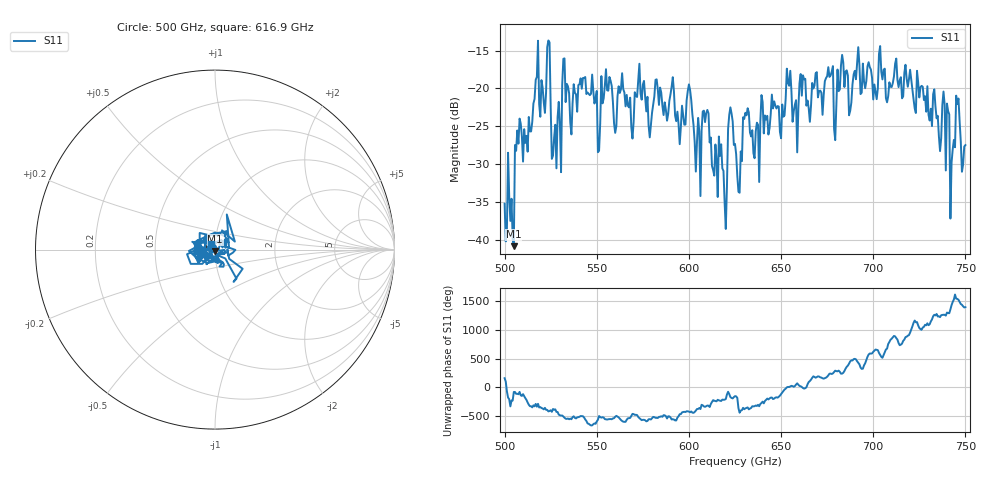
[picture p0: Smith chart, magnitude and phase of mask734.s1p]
!Created with skrf (http://scikit-rf.org).
# GHz S MA R 50.0
!freq magS11 angS11
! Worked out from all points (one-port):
!   401 points, 500 GHz to 750 GHz, reference 50 ohm
!   lowest |S11| = -40.8 dB at 505 GHz (marker M1), VSWR 1.02, Z = 50.1 - j0.904 ohm
!   |S11| at or under -10 dB: start of sweep to end of sweep
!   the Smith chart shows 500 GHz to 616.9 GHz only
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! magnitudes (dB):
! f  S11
! 500 GHz  -35.2
! 505 GHz  -40.8
! 506.9 GHz  -25.5
! 513.8 GHz  -25.7
! 516.9 GHz  -18.9
! 523.8 GHz  -13.7
! 526.9 GHz  -26.5
! 531.2 GHz  -19.5
! 542.5 GHz  -18.6
! 550.6 GHz  -28.4
! 562.5 GHz  -20.6
! 593.8 GHz  -23.1
! 600 GHz  -19.5
! 605 GHz  -23.9
! 609.4 GHz  -23.3
! 619.4 GHz  -35.1
! 622.5 GHz  -22.5
! 625 GHz  -27.3
! 627.5 GHz  -33.8
! 630.6 GHz  -23.2
! 636.9 GHz  -24.5
! 656.2 GHz  -24.4
! 687.5 GHz  -22.9
! 718.8 GHz  -19.8
! 739.4 GHz  -30.8
! 743.1 GHz  -28.0
! 745.6 GHz  -22.1
! 750 GHz  -27.5
